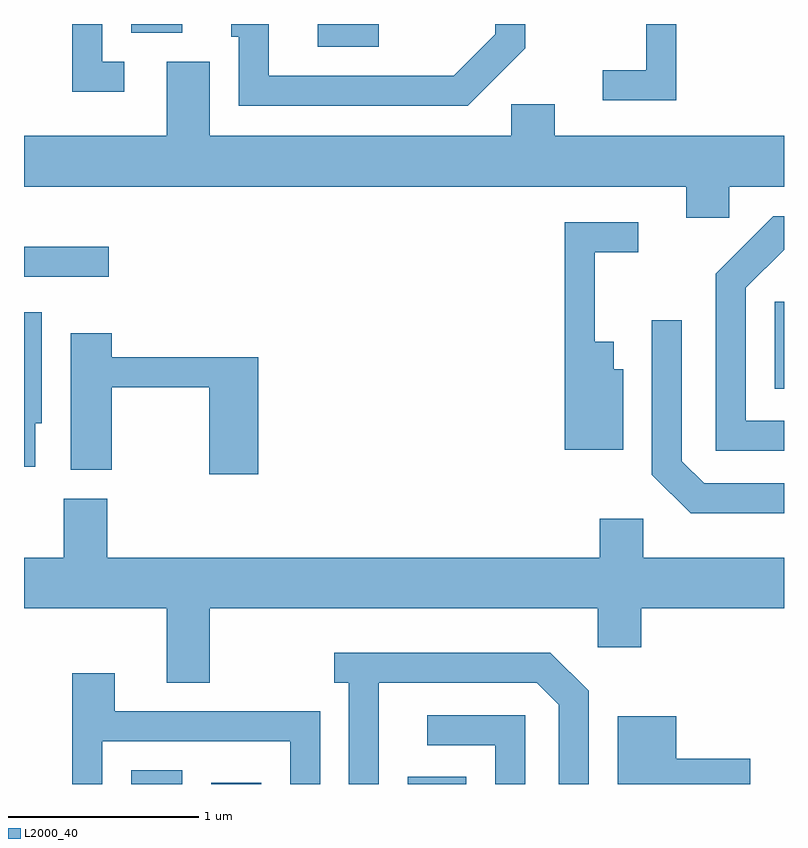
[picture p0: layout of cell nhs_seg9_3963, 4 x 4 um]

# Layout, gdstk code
import gdstk
lib = gdstk.Library(unit=1e-6, precision=1e-09)
def R(c, l, rs):  # rectangles x0, y0, x1, y1
    for r in rs: c.add(gdstk.rectangle(r[:2], r[2:], *l))
def P(c, l, *ps):  # polygons
    for p in ps: c.add(gdstk.Polygon(p, *l))
L2000_40 = (2000, 40)

nhs_seg9_3963 = lib.new_cell('nhs_seg9_3963')
R(nhs_seg9_3963, L2000_40, [(302.176,2006.432,302.444,2006.504), (302.596,2006.432,302.859,2006.439), (303.631,2006.432,303.939,2006.469), (305.561,2008.511,305.611,2008.969), (301.611,2009.101,302.058,2009.259), (303.158,2010.311,303.479,2010.432), (302.176,2010.386,302.444,2010.432)])
P(nhs_seg9_3963, L2000_40, [(304.249,2010.304),(304.249,2010.432),(304.091,2010.432),(304.091,2010.377),(303.874,2010.159),(302.899,2010.159),(302.899,2010.432),(302.701,2010.432),(302.701,2010.366),(302.741,2010.366),(302.741,2010.001),(303.947,2010.001)],
  [(305.044,2010.432),(304.886,2010.432),(304.886,2010.189),(304.658,2010.189),(304.658,2010.031),(305.044,2010.031)],
  [(302.138,2010.234),(302.024,2010.234),(302.024,2010.432),(301.866,2010.432),(301.866,2010.076),(302.138,2010.076)],
  [(305.324,2009.576),(305.611,2009.576),(305.611,2009.844),(304.404,2009.844),(304.404,2010.009),(304.176,2010.009),(304.176,2009.844),(302.589,2009.844),(302.589,2010.234),(302.361,2010.234),(302.361,2009.844),(301.611,2009.844),(301.611,2009.576),(305.096,2009.576),(305.096,2009.411),(305.324,2009.411)],
  [(305.611,2008.344),(305.409,2008.344),(305.409,2009.044),(305.611,2009.245),(305.611,2009.419),(305.554,2009.419),(305.251,2009.117),(305.251,2008.186),(305.611,2008.186)],
  [(304.764,2008.614),(304.714,2008.614),(304.714,2008.759),(304.614,2008.759),(304.614,2009.231),(304.843,2009.231),(304.843,2009.389),(304.456,2009.389),(304.456,2008.191),(304.764,2008.191)],
  [(301.669,2008.331),(301.704,2008.331),(301.704,2008.914),(301.611,2008.914),(301.611,2008.101),(301.669,2008.101)],
  [(305.611,2008.014),(305.192,2008.014),(305.074,2008.132),(305.074,2008.873),(304.916,2008.873),(304.916,2008.059),(305.119,2007.856),(305.611,2007.856)],
  [(302.844,2008.679),(302.074,2008.679),(302.074,2008.804),(301.856,2008.804),(301.856,2008.086),(302.074,2008.086),(302.074,2008.521),(302.586,2008.521),(302.586,2008.061),(302.844,2008.061)],
  [(302.361,2006.966),(302.589,2006.966),(302.589,2007.356),(304.631,2007.356),(304.631,2007.151),(304.859,2007.151),(304.859,2007.356),(305.611,2007.356),(305.611,2007.624),(304.869,2007.624),(304.869,2007.829),(304.641,2007.829),(304.641,2007.624),(302.049,2007.624),(302.049,2007.934),(301.821,2007.934),(301.821,2007.624),(301.611,2007.624),(301.611,2007.356),(302.361,2007.356)],
  [(303.479,2006.966),(304.309,2006.966),(304.426,2006.849),(304.426,2006.432),(304.584,2006.432),(304.584,2006.922),(304.382,2007.124),(303.243,2007.124),(303.243,2006.966),(303.321,2006.966),(303.321,2006.432),(303.479,2006.432)],
  [(302.024,2006.656),(303.011,2006.656),(303.011,2006.432),(303.169,2006.432),(303.169,2006.814),(302.089,2006.814),(302.089,2007.014),(301.866,2007.014),(301.866,2006.432),(302.024,2006.432)],
  [(304.249,2006.794),(303.733,2006.794),(303.733,2006.636),(304.091,2006.636),(304.091,2006.432),(304.249,2006.432)],
  [(305.434,2006.564),(305.044,2006.564),(305.044,2006.789),(304.736,2006.789),(304.736,2006.432),(305.434,2006.432)])

lib.write_gds('nhs_seg9_3963.gds')
